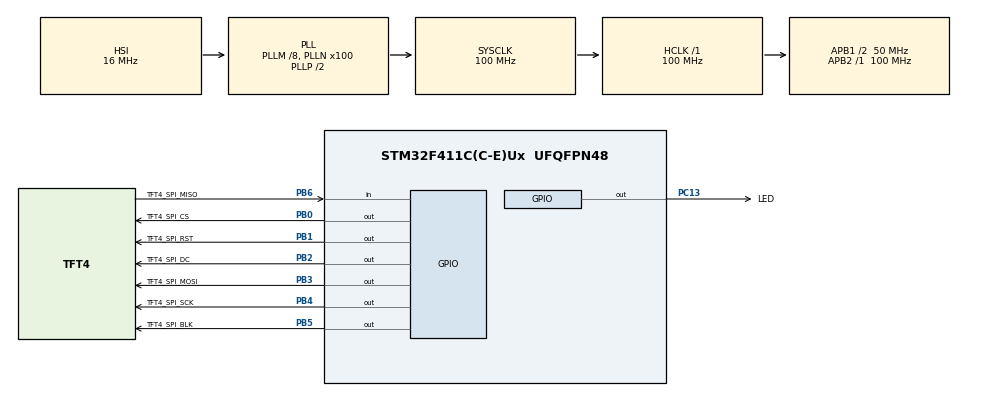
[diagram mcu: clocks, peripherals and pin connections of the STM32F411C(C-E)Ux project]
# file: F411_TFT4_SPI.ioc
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Mcu.Family=STM32F4
Mcu.Name=STM32F411C(C-E)Ux
Mcu.Package=UFQFPN48
NVIC.PriorityGroup=NVIC_PRIORITYGROUP_4
PA13.Mode=Serial_Wire
PA13.Signal=SYS_JTMS-SWDIO
PA14.Mode=Serial_Wire
PA14.Signal=SYS_JTCK-SWCLK
PB0.GPIO_Label=TFT4_SPI_CS
PB0.GPIO_Speed=GPIO_SPEED_FREQ_HIGH
PB0.Signal=GPIO_Output
PB1.GPIO_Label=TFT4_SPI_RST
PB1.GPIO_Speed=GPIO_SPEED_FREQ_HIGH
PB1.Signal=GPIO_Output
PB2.GPIO_Label=TFT4_SPI_DC
PB2.GPIO_Speed=GPIO_SPEED_FREQ_HIGH
PB2.Signal=GPIO_Output
PB3.GPIO_Label=TFT4_SPI_MOSI
PB3.GPIO_Speed=GPIO_SPEED_FREQ_HIGH
PB3.Signal=GPIO_Output
PB4.GPIO_Label=TFT4_SPI_SCK
PB4.GPIO_Speed=GPIO_SPEED_FREQ_HIGH
PB4.Signal=GPIO_Output
PB5.GPIO_Label=TFT4_SPI_BLK
PB5.Signal=GPIO_Output
PB6.GPIO_Label=TFT4_SPI_MISO
PB6.GPIO_PuPd=GPIO_PULLUP
PB6.Signal=GPIO_Input
PC13-ANTI_TAMP.GPIO_Label=LED
PC13-ANTI_TAMP.Signal=GPIO_Output
PH0\ -\ OSC_IN.Mode=HSE-External-Oscillator
PH0\ -\ OSC_IN.Signal=RCC_OSC_IN
PH1\ -\ OSC_OUT.Mode=HSE-External-Oscillator
PH1\ -\ OSC_OUT.Signal=RCC_OSC_OUT
ProjectManager.HeapSize=0x200
ProjectManager.StackSize=0x400
ProjectManager.TargetToolchain=MDK-ARM V5
RCC.48MHZClocksFreq_Value=50000000
RCC.AHBFreq_Value=100000000
RCC.APB1CLKDivider=RCC_HCLK_DIV2
RCC.APB1Freq_Value=50000000
RCC.APB1TimFreq_Value=100000000
RCC.APB2Freq_Value=100000000
RCC.APB2TimFreq_Value=100000000
RCC.CortexFreq_Value=100000000
RCC.HCLKFreq_Value=100000000
RCC.HSE_VALUE=25000000
RCC.HSI_VALUE=16000000
RCC.LSE_VALUE=32768
RCC.PLLM=8
RCC.PLLN=100
RCC.SYSCLKFreq_VALUE=100000000
RCC.SYSCLKSource=RCC_SYSCLKSOURCE_PLLCLK
RCC.VCOOutputFreq_Value=200000000
board=custom

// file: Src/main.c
/* USER CODE BEGIN Header */
/**
  ******************************************************************************
  * @file           : main.c
  * @brief          : Main program body
  ******************************************************************************
  * @attention
  *
  * <h2><center>&copy; Copyright (c) 2020 STMicroelectronics.
  * All rights reserved.</center></h2>
  *
  * This software component is licensed by ST under BSD 3-Clause license,
  * the "License"; You may not use this file except in compliance with the
  * License. You may obtain a copy of the License at:
  *                        opensource.org/licenses/BSD-3-Clause
  *
  ******************************************************************************
  */
/* USER CODE END Header */

#include "main.h"
#include "gpio.h"

/* USER CODE BEGIN Includes */
#include "TFT4_SPI.h"
#include "picture.h"
/* USER CODE END Includes */

void SystemClock_Config(void);

int main(void)
{

  /* MCU Configuration--------------------------------------------------------*/

  /* Reset of all peripherals, Initializes the Flash interface and the Systick. */
  HAL_Init();

  /* Configure the system clock */
  SystemClock_Config();

  /* Initialize all configured peripherals */
  MX_GPIO_Init();
  /* USER CODE BEGIN 2 */
  LCD_Init();
	LCD_direction(2);
	LCD_ShowString(0,0,12,"HELLO WORLD",1);
	LCD_ShowString(0,20,16,"HELLO WORLD",1);
	Gui_StrCenter(0,40,RED,WHITE,"全动电子",16,1);  //居中显示
	Show_Str(0, 60, RED, WHITE,  "十六号字体屏幕测试",16,1);  //显示中文字符串，允许有数字但是数字的字体只有16的和12的
	Show_Str(0, 100, RED, WHITE, "二十四号字体屏幕测试",24,1);  //显示中文字符串，允许有数字但是数字的字体只有16的和12的
	Show_Str(0, 140, RED, WHITE, "三十二号字体屏幕测试",32,1);  //显示中文字符串，允许有数字但是数字的字体只有16的和12的
	showimage(gImage_PDD,240,320,0,239);
	//Gui_Drawbmp16(0,329,gImage_PDD);
  /* USER CODE END 2 */

  /* Infinite loop */
  while (1)
  {

    /* USER CODE BEGIN 3 */
		HAL_GPIO_WritePin(LED_GPIO_Port, LED_Pin, GPIO_PIN_SET);
		HAL_Delay(1000);

		HAL_GPIO_WritePin(LED_GPIO_Port, LED_Pin, GPIO_PIN_RESET);
		HAL_Delay(1000);
  }
  /* USER CODE END 3 */
}

void SystemClock_Config(void)
{
  RCC_OscInitTypeDef RCC_OscInitStruct = {0};
  RCC_ClkInitTypeDef RCC_ClkInitStruct = {0};

  /** Configure the main internal regulator output voltage
  */
  __HAL_RCC_PWR_CLK_ENABLE();
  __HAL_PWR_VOLTAGESCALING_CONFIG(PWR_REGULATOR_VOLTAGE_SCALE1);
  /** Initializes the CPU, AHB and APB busses clocks
  */
  RCC_OscInitStruct.OscillatorType = RCC_OSCILLATORTYPE_HSI;
  RCC_OscInitStruct.HSIState = RCC_HSI_ON;
  RCC_OscInitStruct.HSICalibrationValue = RCC_HSICALIBRATION_DEFAULT;
  RCC_OscInitStruct.PLL.PLLState = RCC_PLL_ON;
  RCC_OscInitStruct.PLL.PLLSource = RCC_PLLSOURCE_HSI;
  RCC_OscInitStruct.PLL.PLLM = 8;
  RCC_OscInitStruct.PLL.PLLN = 100;
  RCC_OscInitStruct.PLL.PLLP = RCC_PLLP_DIV2;
  RCC_OscInitStruct.PLL.PLLQ = 4;
  if (HAL_RCC_OscConfig(&RCC_OscInitStruct) != HAL_OK)
  {
    Error_Handler();
  }
  /** Initializes the CPU, AHB and APB busses clocks
  */
  RCC_ClkInitStruct.ClockType = RCC_CLOCKTYPE_HCLK|RCC_CLOCKTYPE_SYSCLK
                              |RCC_CLOCKTYPE_PCLK1|RCC_CLOCKTYPE_PCLK2;
  RCC_ClkInitStruct.SYSCLKSource = RCC_SYSCLKSOURCE_PLLCLK;
  RCC_ClkInitStruct.AHBCLKDivider = RCC_SYSCLK_DIV1;
  RCC_ClkInitStruct.APB1CLKDivider = RCC_HCLK_DIV2;
  RCC_ClkInitStruct.APB2CLKDivider = RCC_HCLK_DIV1;

  if (HAL_RCC_ClockConfig(&RCC_ClkInitStruct, FLASH_LATENCY_3) != HAL_OK)
  {
    Error_Handler();
  }
}

void Error_Handler(void)
{
}

/************************ (C) COPYRIGHT STMicroelectronics *****END OF FILE****/
